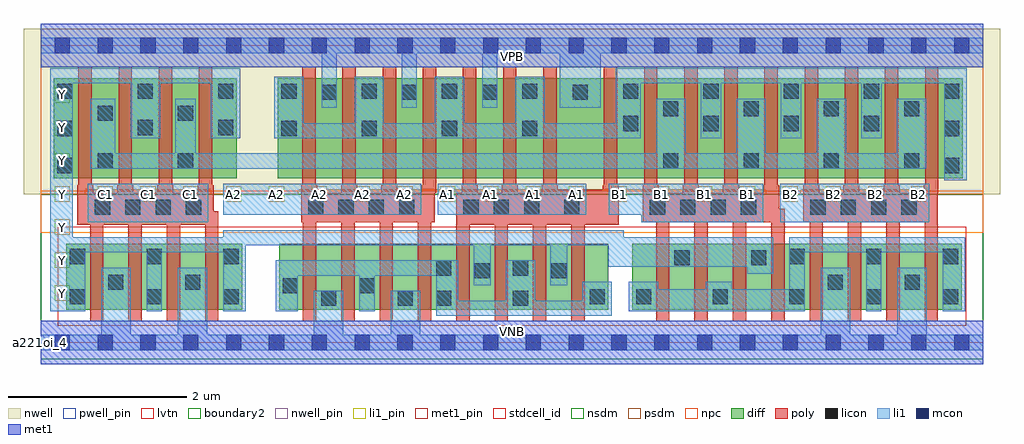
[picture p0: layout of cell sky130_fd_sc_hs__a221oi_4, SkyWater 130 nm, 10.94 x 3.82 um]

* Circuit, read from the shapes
.subckt sky130_fd_sc_hs__a221oi_4 A1 A2 B1 B2 C1 VGND VNB VPB VPWR Y
XM1 VGND C1 Y VNB sky130_fd_pr__nfet_01v8_lvt w=0.74 l=0.15 m=4
XM2 VGND A2 n1 VNB sky130_fd_pr__nfet_01v8_lvt w=0.74 l=0.15 m=4
XM3 Y A1 n1 VNB sky130_fd_pr__nfet_01v8_lvt w=0.74 l=0.15 m=4
XM4 Y B1 n2 VNB sky130_fd_pr__nfet_01v8_lvt w=0.74 l=0.15 m=4
XM5 VGND B2 n2 VNB sky130_fd_pr__nfet_01v8_lvt w=0.74 l=0.15 m=4
XM6 n3 C1 Y VPB sky130_fd_pr__pfet_01v8 w=1.12 l=0.15 m=4
XM7 VPWR A2 n4 VPB sky130_fd_pr__pfet_01v8 w=1.12 l=0.15 m=4
XM8 VPWR A1 n4 VPB sky130_fd_pr__pfet_01v8 w=1.12 l=0.15 m=4
XM9 n3 B1 n4 VPB sky130_fd_pr__pfet_01v8 w=1.12 l=0.15 m=4
XM10 n3 B2 n4 VPB sky130_fd_pr__pfet_01v8 w=1.12 l=0.15 m=4
.ends

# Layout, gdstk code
import gdstk
lib = gdstk.Library(unit=1e-6, precision=1e-09)
def R(c, l, rs):  # rectangles x0, y0, x1, y1
    for r in rs: c.add(gdstk.rectangle(r[:2], r[2:], *l))
def A(c, l, x, y, w, h, nx, ny, dx, dy):  # array of equal rectangles
    R(c, l, [(x+i*dx, y+j*dy, x+i*dx+w, y+j*dy+h) for i in range(nx) for j in range(ny)])
def P(c, l, *ps):  # polygons
    for p in ps: c.add(gdstk.Polygon(p, *l))
nwell_pin = (64, 16)
nwell = (64, 20)
diff = (65, 20)
poly = (66, 20)
licon = (66, 44)
li1_pin = (67, 16)
li1 = (67, 20)
mcon = (67, 44)
met1_pin = (68, 16)
met1 = (68, 20)
stdcell_id = (81, 4)
nsdm = (93, 44)
psdm = (94, 20)
npc = (95, 20)
pwell_pin = (122, 16)
lvtn = (125, 44)
boundary2 = (236, 0)

sky130_fd_sc_hs__a221oi_ = lib.new_cell('sky130_fd_sc_hs__a221oi_4')
R(sky130_fd_sc_hs__a221oi_, nwell_pin, [(0,3.085,10.56,3.33)])
R(sky130_fd_sc_hs__a221oi_, nwell, [(-0.19,1.66,10.75,3.52)])
R(sky130_fd_sc_hs__a221oi_, diff, [(0.285,0.37,2.255,1.11), (2.67,0.37,6.36,1.11), (6.63,0.37,10.32,1.11), (0.145,1.84,2.195,2.96), (2.655,1.84,10.335,2.96)])
P(sky130_fd_sc_hs__a221oi_, poly, [(1.99,1.47),(1.935,1.47),(1.935,1.765),(1.92,1.765),(1.92,3.09),(1.77,3.09),(1.77,1.765),(1.755,1.765),(1.755,1.68),(1.485,1.68),(1.485,1.765),(1.47,1.765),(1.47,3.09),(1.32,3.09),(1.32,1.765),(1.305,1.765),(1.305,1.68),(1.035,1.68),(1.035,1.765),(1.02,1.765),(1.02,3.09),(0.87,3.09),(0.87,1.765),(0.855,1.765),(0.855,1.68),(0.585,1.68),(0.585,1.765),(0.57,1.765),(0.57,3.09),(0.42,3.09),(0.42,1.765),(0.405,1.765),(0.405,1.32),(0.55,1.32),(0.55,0.24),(0.7,0.24),(0.7,1.32),(0.98,1.32),(0.98,0.24),(1.13,0.24),(1.13,1.32),(1.41,1.32),(1.41,0.24),(1.56,0.24),(1.56,1.32),(1.84,1.32),(1.84,0.24),(1.99,0.24)],
  [(4.43,3.09),(4.28,3.09),(4.28,1.765),(4.265,1.765),(4.265,1.68),(3.995,1.68),(3.995,1.765),(3.98,1.765),(3.98,3.09),(3.83,3.09),(3.83,1.765),(3.815,1.765),(3.815,1.68),(3.545,1.68),(3.545,1.765),(3.53,1.765),(3.53,3.09),(3.38,3.09),(3.38,1.765),(3.365,1.765),(3.365,1.68),(3.095,1.68),(3.095,1.765),(3.08,1.765),(3.08,3.09),(2.93,3.09),(2.93,1.765),(2.915,1.765),(2.915,1.35),(2.935,1.35),(2.935,0.24),(3.085,0.24),(3.085,1.35),(3.365,1.35),(3.365,0.24),(3.515,0.24),(3.515,1.35),(3.795,1.35),(3.795,0.24),(3.945,0.24),(3.945,1.35),(4.225,1.35),(4.225,0.24),(4.375,0.24),(4.375,1.35),(4.415,1.35),(4.415,1.68),(4.43,1.68)],
  [(6.475,1.765),(6.46,1.765),(6.46,3.09),(6.31,3.09),(6.31,1.765),(6.295,1.765),(6.295,1.71),(5.795,1.71),(5.795,1.765),(5.78,1.765),(5.78,3.09),(5.63,3.09),(5.63,1.765),(5.615,1.765),(5.615,1.68),(5.345,1.68),(5.345,1.765),(5.33,1.765),(5.33,3.09),(5.18,3.09),(5.18,1.765),(5.165,1.765),(5.165,1.68),(4.895,1.68),(4.895,1.765),(4.88,1.765),(4.88,3.09),(4.73,3.09),(4.73,1.765),(4.715,1.765),(4.715,1.68),(4.655,1.68),(4.655,0.24),(4.805,0.24),(4.805,1.32),(5.085,1.32),(5.085,0.24),(5.235,0.24),(5.235,1.32),(5.515,1.32),(5.515,0.24),(5.665,0.24),(5.665,1.32),(5.945,1.32),(5.945,0.24),(6.095,0.24),(6.095,1.32),(6.475,1.32)],
  [(8.335,1.5),(8.275,1.5),(8.275,1.765),(8.26,1.765),(8.26,3.09),(8.11,3.09),(8.11,1.765),(8.095,1.765),(8.095,1.68),(7.825,1.68),(7.825,1.765),(7.81,1.765),(7.81,3.09),(7.66,3.09),(7.66,1.765),(7.645,1.765),(7.645,1.68),(7.375,1.68),(7.375,1.765),(7.36,1.765),(7.36,3.09),(7.21,3.09),(7.21,1.765),(7.195,1.765),(7.195,1.68),(6.925,1.68),(6.925,1.765),(6.91,1.765),(6.91,3.09),(6.76,3.09),(6.76,1.765),(6.745,1.765),(6.745,1.35),(6.895,1.35),(6.895,0.24),(7.045,0.24),(7.045,1.35),(7.325,1.35),(7.325,0.24),(7.475,0.24),(7.475,1.35),(7.755,1.35),(7.755,0.24),(7.905,0.24),(7.905,1.35),(8.185,1.35),(8.185,0.24),(8.335,0.24)],
  [(10.06,3.09),(9.91,3.09),(9.91,1.765),(9.895,1.765),(9.895,1.68),(9.625,1.68),(9.625,1.765),(9.61,1.765),(9.61,3.09),(9.46,3.09),(9.46,1.765),(9.445,1.765),(9.445,1.68),(9.175,1.68),(9.175,1.765),(9.16,1.765),(9.16,3.09),(9.01,3.09),(9.01,1.765),(8.995,1.765),(8.995,1.68),(8.725,1.68),(8.725,1.765),(8.71,1.765),(8.71,3.09),(8.56,3.09),(8.56,1.765),(8.545,1.765),(8.545,1.35),(8.615,1.35),(8.615,0.24),(8.765,0.24),(8.765,1.35),(9.045,1.35),(9.045,0.24),(9.195,0.24),(9.195,1.35),(9.475,1.35),(9.475,0.24),(9.625,0.24),(9.625,1.35),(9.905,1.35),(9.905,0.24),(10.055,0.24),(10.055,1.68),(10.06,1.68)])
A(sky130_fd_sc_hs__a221oi_, licon, 0.325, 0.43, 0.17, 0.17, 3, 2, 0.86, 0.45)
A(sky130_fd_sc_hs__a221oi_, licon, 6.67, 0.43, 0.17, 0.17, 5, 1, 0.86, 0)
A(sky130_fd_sc_hs__a221oi_, licon, 8.39, 0.88, 0.17, 0.17, 3, 1, 0.86, 0)
A(sky130_fd_sc_hs__a221oi_, licon, 0.605, 1.43, 0.17, 0.17, 4, 1, 0.34, 0)
A(sky130_fd_sc_hs__a221oi_, licon, 2.995, 1.43, 0.17, 0.17, 4, 1, 0.34, 0)
A(sky130_fd_sc_hs__a221oi_, licon, 4.735, 1.43, 0.17, 0.17, 3, 1, 0.34, 0)
A(sky130_fd_sc_hs__a221oi_, licon, 6.825, 1.43, 0.17, 0.17, 4, 1, 0.34, 0)
A(sky130_fd_sc_hs__a221oi_, licon, 8.625, 1.43, 0.17, 0.17, 4, 1, 0.34, 0)
A(sky130_fd_sc_hs__a221oi_, licon, 6.975, 1.95, 0.17, 0.17, 4, 2, 0.9, 0.585)
A(sky130_fd_sc_hs__a221oi_, licon, 2.695, 2.315, 0.17, 0.17, 4, 2, 0.9, 0.415)
A(sky130_fd_sc_hs__a221oi_, licon, 6.525, 2.37, 0.17, 0.17, 4, 1, 0.9, 0)
A(sky130_fd_sc_hs__a221oi_, licon, 3.145, 2.72, 0.17, 0.17, 3, 1, 0.9, 0)
A(sky130_fd_sc_hs__a221oi_, licon, 0.185, 2.73, 0.17, 0.17, 3, 1, 0.9, 0)
A(sky130_fd_sc_hs__a221oi_, licon, 6.525, 2.73, 0.17, 0.17, 5, 1, 0.9, 0)
R(sky130_fd_sc_hs__a221oi_, licon, [(3.14,0.41,3.31,0.58), (4,0.41,4.17,0.58), (4.43,0.41,4.6,0.58), (5.29,0.41,5.46,0.58), (6.15,0.43,6.32,0.6), (2.71,0.55,2.88,0.72), (3.57,0.55,3.74,0.72), (0.755,0.59,0.925,0.76), (1.615,0.59,1.785,0.76), (8.82,0.59,8.99,0.76), (9.68,0.59,9.85,0.76), (4.86,0.72,5.03,0.89), (5.72,0.72,5.89,0.89), (4.43,0.75,4.6,0.92), (5.29,0.75,5.46,0.92), (7.1,0.865,7.27,1.035), (7.96,0.865,8.13,1.035), (5.865,1.43,6.035,1.6), (0.185,1.9,0.355,2.07), (10.125,1.9,10.295,2.07), (0.635,1.95,0.805,2.12), (1.535,1.95,1.705,2.12), (0.185,2.315,0.355,2.485), (10.125,2.315,10.295,2.485), (1.085,2.325,1.255,2.495), (1.985,2.325,2.155,2.495), (0.635,2.485,0.805,2.655), (1.535,2.485,1.705,2.655), (5.96,2.72,6.13,2.89)])
A(sky130_fd_sc_hs__a221oi_, li1_pin, 0.155, 0.47, 0.17, 0.17, 1, 3, 0, 0.37)
A(sky130_fd_sc_hs__a221oi_, li1_pin, 0.155, 1.58, 0.17, 0.17, 21, 1, 0.48, 0)
A(sky130_fd_sc_hs__a221oi_, li1_pin, 0.155, 1.95, 0.17, 0.17, 1, 3, 0, 0.37)
R(sky130_fd_sc_hs__a221oi_, li1, [(0.525,1.35,1.875,1.78), (8.285,1.35,9.955,1.78), (2.045,1.43,4.265,1.78), (4.445,1.43,6.115,1.78)])
P(sky130_fd_sc_hs__a221oi_, li1, [(5.815,2.63),(5.815,3.245),(5.115,3.245),(5.115,2.63),(4.945,2.63),(4.945,3.245),(4.215,3.245),(4.215,2.63),(4.045,2.63),(4.045,3.245),(3.315,3.245),(3.315,2.63),(3.145,2.63),(3.145,3.245),(0,3.245),(0,3.415),(10.56,3.415),(10.56,3.245),(6.275,3.245),(6.275,2.63)],
  [(3.06,0.085),(3.06,0.58),(3.39,0.58),(3.39,0.085),(3.92,0.085),(3.92,0.58),(4.25,0.58),(4.25,0.085),(8.74,0.085),(8.74,0.84),(9.07,0.84),(9.07,0.085),(9.6,0.085),(9.6,0.84),(9.93,0.84),(9.93,0.085),(10.56,0.085),(10.56,-0.085),(0,-0.085),(0,0.085),(0.675,0.085),(0.675,0.84),(1.005,0.84),(1.005,0.085),(1.535,0.085),(1.535,0.84),(1.865,0.84),(1.865,0.085)],
  [(8.21,1.18),(6.53,1.18),(6.53,1.26),(2.045,1.26),(2.045,1.18),(0.355,1.18),(0.355,2.905),(1.005,2.905),(1.005,2.29),(1.335,2.29),(1.335,2.905),(1.905,2.905),(1.905,2.29),(2.235,2.29),(2.235,3.075),(0.105,3.075),(0.105,0.35),(0.495,0.35),(0.495,1.01),(1.185,1.01),(1.185,0.35),(1.355,0.35),(1.355,1.01),(2.045,1.01),(2.045,0.35),(2.295,0.35),(2.295,1.09),(4.85,1.09),(4.85,0.64),(5.04,0.64),(5.04,1.09),(5.71,1.09),(5.71,0.64),(5.9,0.64),(5.9,1.09),(6.36,1.09),(6.36,0.85),(7.915,0.85),(7.915,0.77),(8.21,0.77)],
  [(9.925,2.735),(9.595,2.735),(9.595,2.12),(9.025,2.12),(9.025,2.735),(8.695,2.735),(8.695,2.12),(8.125,2.12),(8.125,2.735),(7.795,2.735),(7.795,2.12),(7.225,2.12),(7.225,2.735),(6.895,2.735),(6.895,2.12),(1.735,2.12),(1.735,2.735),(1.505,2.735),(1.505,2.12),(0.835,2.12),(0.835,2.735),(0.555,2.735),(0.555,1.95),(9.925,1.95)],
  [(10.375,3.075),(6.445,3.075),(6.445,2.46),(5.645,2.46),(5.645,2.98),(5.315,2.98),(5.315,2.46),(4.745,2.46),(4.745,2.98),(4.415,2.98),(4.415,2.46),(3.845,2.46),(3.845,2.98),(3.515,2.98),(3.515,2.46),(2.945,2.46),(2.945,2.98),(2.615,2.98),(2.615,2.29),(6.725,2.29),(6.725,2.905),(7.395,2.905),(7.395,2.29),(7.625,2.29),(7.625,2.905),(8.295,2.905),(8.295,2.29),(8.525,2.29),(8.525,2.905),(9.195,2.905),(9.195,2.29),(9.425,2.29),(9.425,2.905),(10.125,2.905),(10.125,1.82),(10.375,1.82)],
  [(10.36,1.18),(8.39,1.18),(8.39,0.6),(7.745,0.6),(7.745,0.68),(7.45,0.68),(7.45,0.6),(6.92,0.6),(6.92,0.68),(6.59,0.68),(6.59,0.35),(8.56,0.35),(8.56,1.01),(9.25,1.01),(9.25,0.35),(9.42,0.35),(9.42,1.01),(10.11,1.01),(10.11,0.35),(10.36,0.35)],
  [(6.4,0.68),(6.07,0.68),(6.07,0.47),(5.54,0.47),(5.54,0.92),(5.21,0.92),(5.21,0.47),(4.68,0.47),(4.68,0.92),(2.63,0.92),(2.63,0.35),(2.88,0.35),(2.88,0.75),(3.57,0.75),(3.57,0.35),(3.74,0.35),(3.74,0.75),(4.43,0.75),(4.43,0.3),(6.4,0.3)],
  [(8.095,1.78),(6.365,1.78),(6.365,1.43),(6.73,1.43),(6.73,1.35),(8.095,1.35)])
A(sky130_fd_sc_hs__a221oi_, mcon, 0.155, -0.085, 0.17, 0.17, 22, 2, 0.48, 3.33)
R(sky130_fd_sc_hs__a221oi_, met1_pin, [(0,0,10.56,0.245), (0,3.085,10.56,3.33)])
R(sky130_fd_sc_hs__a221oi_, met1, [(0,-0.245,10.56,0.245), (0,3.085,10.56,3.575)])
R(sky130_fd_sc_hs__a221oi_, stdcell_id, [(0,0,10.56,3.33)])
R(sky130_fd_sc_hs__a221oi_, nsdm, [(0,-0.19,10.56,1.66)])
P(sky130_fd_sc_hs__a221oi_, psdm, [(10.56,3.52),(0,3.52),(0,1.66),(0.495,1.66),(0.495,1.71),(1.905,1.71),(1.905,1.66),(2.885,1.66),(2.885,1.71),(8.125,1.71),(8.125,1.66),(8.515,1.66),(8.515,1.71),(9.925,1.71),(9.925,1.66),(10.56,1.66)])
R(sky130_fd_sc_hs__a221oi_, npc, [(0,1.23,10.56,1.7)])
R(sky130_fd_sc_hs__a221oi_, pwell_pin, [(0,0,10.56,0.245)])
R(sky130_fd_sc_hs__a221oi_, lvtn, [(0.19,0.19,10.37,1.3)])
R(sky130_fd_sc_hs__a221oi_, boundary2, [(0,0,10.56,3.33)])
sky130_fd_sc_hs__a221oi_.add(gdstk.Label('a221oi_4', (0,0), layer=83, texttype=44))
sky130_fd_sc_hs__a221oi_.add(gdstk.Label('VNB', (5.28,0.123), layer=64, texttype=59))
sky130_fd_sc_hs__a221oi_.add(gdstk.Label('VPB', (5.28,3.208), layer=64, texttype=5))
sky130_fd_sc_hs__a221oi_.add(gdstk.Label('VPWR', (5.28,3.208), layer=68, texttype=5))
sky130_fd_sc_hs__a221oi_.add(gdstk.Label('VGND', (5.28,0.123), layer=68, texttype=5))
sky130_fd_sc_hs__a221oi_.add(gdstk.Label('Y', (0.24,0.555), layer=67, texttype=5))
sky130_fd_sc_hs__a221oi_.add(gdstk.Label('Y', (0.24,0.925), layer=67, texttype=5))
sky130_fd_sc_hs__a221oi_.add(gdstk.Label('Y', (0.24,1.295), layer=67, texttype=5))
sky130_fd_sc_hs__a221oi_.add(gdstk.Label('Y', (0.24,1.665), layer=67, texttype=5))
sky130_fd_sc_hs__a221oi_.add(gdstk.Label('Y', (0.24,2.035), layer=67, texttype=5))
sky130_fd_sc_hs__a221oi_.add(gdstk.Label('Y', (0.24,2.405), layer=67, texttype=5))
sky130_fd_sc_hs__a221oi_.add(gdstk.Label('Y', (0.24,2.775), layer=67, texttype=5))
sky130_fd_sc_hs__a221oi_.add(gdstk.Label('C1', (0.72,1.665), layer=67, texttype=5))
sky130_fd_sc_hs__a221oi_.add(gdstk.Label('C1', (1.2,1.665), layer=67, texttype=5))
sky130_fd_sc_hs__a221oi_.add(gdstk.Label('C1', (1.68,1.665), layer=67, texttype=5))
sky130_fd_sc_hs__a221oi_.add(gdstk.Label('B2', (8.4,1.665), layer=67, texttype=5))
sky130_fd_sc_hs__a221oi_.add(gdstk.Label('B2', (8.88,1.665), layer=67, texttype=5))
sky130_fd_sc_hs__a221oi_.add(gdstk.Label('B2', (9.36,1.665), layer=67, texttype=5))
sky130_fd_sc_hs__a221oi_.add(gdstk.Label('B2', (9.84,1.665), layer=67, texttype=5))
sky130_fd_sc_hs__a221oi_.add(gdstk.Label('B1', (6.48,1.665), layer=67, texttype=5))
sky130_fd_sc_hs__a221oi_.add(gdstk.Label('B1', (6.96,1.665), layer=67, texttype=5))
sky130_fd_sc_hs__a221oi_.add(gdstk.Label('B1', (7.44,1.665), layer=67, texttype=5))
sky130_fd_sc_hs__a221oi_.add(gdstk.Label('B1', (7.92,1.665), layer=67, texttype=5))
sky130_fd_sc_hs__a221oi_.add(gdstk.Label('A2', (2.16,1.665), layer=67, texttype=5))
sky130_fd_sc_hs__a221oi_.add(gdstk.Label('A2', (2.64,1.665), layer=67, texttype=5))
sky130_fd_sc_hs__a221oi_.add(gdstk.Label('A2', (3.12,1.665), layer=67, texttype=5))
sky130_fd_sc_hs__a221oi_.add(gdstk.Label('A2', (3.6,1.665), layer=67, texttype=5))
sky130_fd_sc_hs__a221oi_.add(gdstk.Label('A2', (4.08,1.665), layer=67, texttype=5))
sky130_fd_sc_hs__a221oi_.add(gdstk.Label('A1', (4.56,1.665), layer=67, texttype=5))
sky130_fd_sc_hs__a221oi_.add(gdstk.Label('A1', (5.04,1.665), layer=67, texttype=5))
sky130_fd_sc_hs__a221oi_.add(gdstk.Label('A1', (5.52,1.665), layer=67, texttype=5))
sky130_fd_sc_hs__a221oi_.add(gdstk.Label('A1', (6,1.665), layer=67, texttype=5))

lib.write_gds('sky130_fd_sc_hs__a221oi_4.gds')
